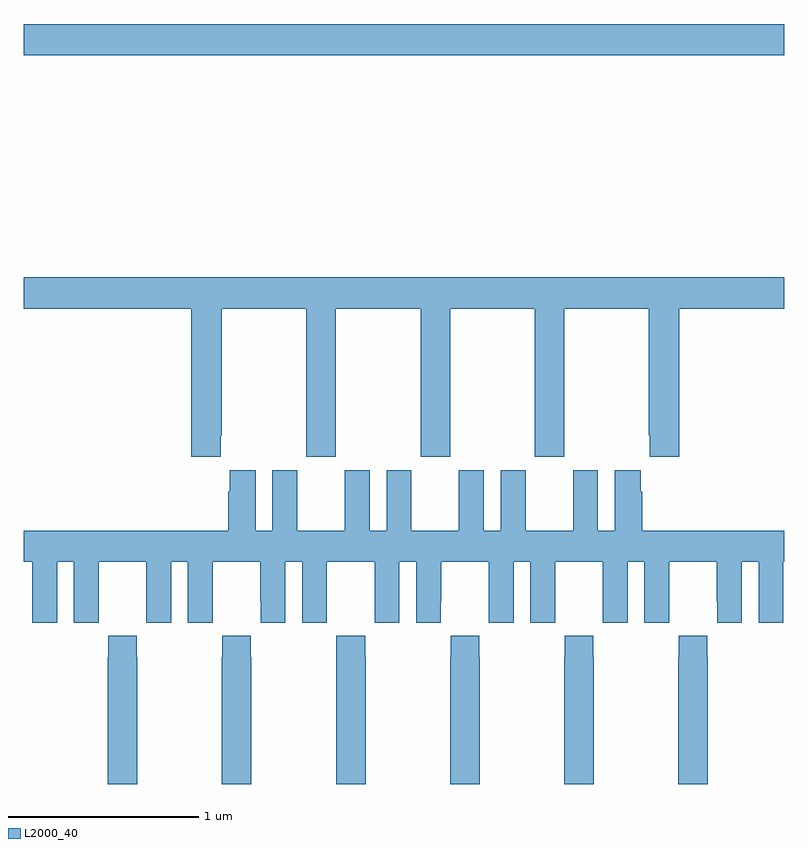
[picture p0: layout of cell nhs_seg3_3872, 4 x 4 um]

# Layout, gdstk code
import gdstk
lib = gdstk.Library(unit=1e-6, precision=1e-09)
def R(c, l, rs):  # rectangles x0, y0, x1, y1
    for r in rs: c.add(gdstk.rectangle(r[:2], r[2:], *l))
def P(c, l, *ps):  # polygons
    for p in ps: c.add(gdstk.Polygon(p, *l))
L2000_40 = (2000, 40)

nhs_seg3_3872 = lib.new_cell('nhs_seg3_3872')
R(nhs_seg3_3872, L2000_40, [(311,718.232,315,718.396)])
P(nhs_seg3_3872, L2000_40, [(311,716.9),(311.882,716.9),(311.882,716.121),(312.037,716.121),(312.037,716.233),(312.042,716.233),(312.042,716.9),(312.487,716.9),(312.487,716.121),(312.642,716.121),(312.642,716.9),(313.087,716.9),(313.087,716.121),(313.242,716.121),(313.242,716.9),(313.687,716.9),(313.687,716.121),(313.842,716.121),(313.842,716.9),(314.287,716.9),(314.287,716.233),(314.291,716.233),(314.291,716.121),(314.447,716.121),(314.447,716.9),(315,716.9),(315,717.064),(311,717.064)],
  [(311.176,715.568),(311.264,715.568),(311.264,715.248),(311.394,715.248),(311.394,715.36),(311.395,715.36),(311.395,715.568),(311.645,715.568),(311.645,715.36),(311.646,715.36),(311.646,715.248),(311.776,715.248),(311.776,715.568),(311.864,715.568),(311.864,715.248),(311.994,715.248),(311.994,715.36),(311.995,715.36),(311.995,715.568),(312.245,715.568),(312.245,715.36),(312.246,715.36),(312.246,715.248),(312.376,715.248),(312.376,715.568),(312.464,715.568),(312.464,715.248),(312.594,715.248),(312.594,715.36),(312.595,715.36),(312.595,715.568),(312.845,715.568),(312.845,715.36),(312.846,715.36),(312.846,715.248),(312.976,715.248),(312.976,715.568),(313.064,715.568),(313.064,715.248),(313.194,715.248),(313.194,715.36),(313.195,715.36),(313.195,715.568),(313.445,715.568),(313.445,715.36),(313.446,715.36),(313.446,715.248),(313.576,715.248),(313.576,715.568),(313.664,715.568),(313.664,715.248),(313.794,715.248),(313.794,715.36),(313.795,715.36),(313.795,715.568),(314.045,715.568),(314.045,715.36),(314.046,715.36),(314.046,715.248),(314.176,715.248),(314.176,715.568),(314.264,715.568),(314.264,715.248),(314.394,715.248),(314.394,715.36),(314.395,715.36),(314.395,715.568),(314.645,715.568),(314.645,715.36),(314.646,715.36),(314.646,715.248),(314.776,715.248),(314.776,715.568),(314.864,715.568),(314.864,715.248),(314.994,715.248),(314.994,715.36),(314.995,715.36),(314.995,715.568),(315,715.568),(315,715.732),(314.252,715.732),(314.252,715.937),(314.245,715.937),(314.245,716.05),(314.108,716.05),(314.108,715.732),(314.02,715.732),(314.02,716.05),(313.889,716.05),(313.889,715.732),(313.639,715.732),(313.639,716.05),(313.508,716.05),(313.508,715.732),(313.42,715.732),(313.42,716.05),(313.289,716.05),(313.289,715.732),(313.039,715.732),(313.039,716.05),(312.908,716.05),(312.908,715.732),(312.82,715.732),(312.82,716.05),(312.689,716.05),(312.689,715.732),(312.439,715.732),(312.439,716.05),(312.308,716.05),(312.308,715.732),(312.22,715.732),(312.22,716.05),(312.083,716.05),(312.083,715.937),(312.077,715.937),(312.077,715.732),(311,715.732),(311,715.568),(311.045,715.568),(311.045,715.36),(311.046,715.36),(311.046,715.248),(311.176,715.248)],
  [(314.598,715.067),(314.595,715.067),(314.595,715.18),(314.445,715.18),(314.445,715.067),(314.443,715.067),(314.443,714.4),(314.598,714.4)],
  [(313.998,715.067),(313.995,715.067),(313.995,715.18),(313.845,715.18),(313.845,715.067),(313.843,715.067),(313.843,714.4),(313.998,714.4)],
  [(313.398,715.067),(313.395,715.067),(313.395,715.18),(313.245,715.18),(313.245,715.067),(313.243,715.067),(313.243,714.4),(313.398,714.4)],
  [(312.798,715.067),(312.795,715.067),(312.795,715.18),(312.645,715.18),(312.645,715.067),(312.643,715.067),(312.643,714.4),(312.798,714.4)],
  [(312.198,715.067),(312.195,715.067),(312.195,715.18),(312.045,715.18),(312.045,715.067),(312.043,715.067),(312.043,714.4),(312.198,714.4)],
  [(311.595,715.067),(311.595,715.18),(311.445,715.18),(311.445,715.067),(311.443,715.067),(311.443,714.4),(311.598,714.4),(311.598,715.067)])

lib.write_gds('nhs_seg3_3872.gds')
